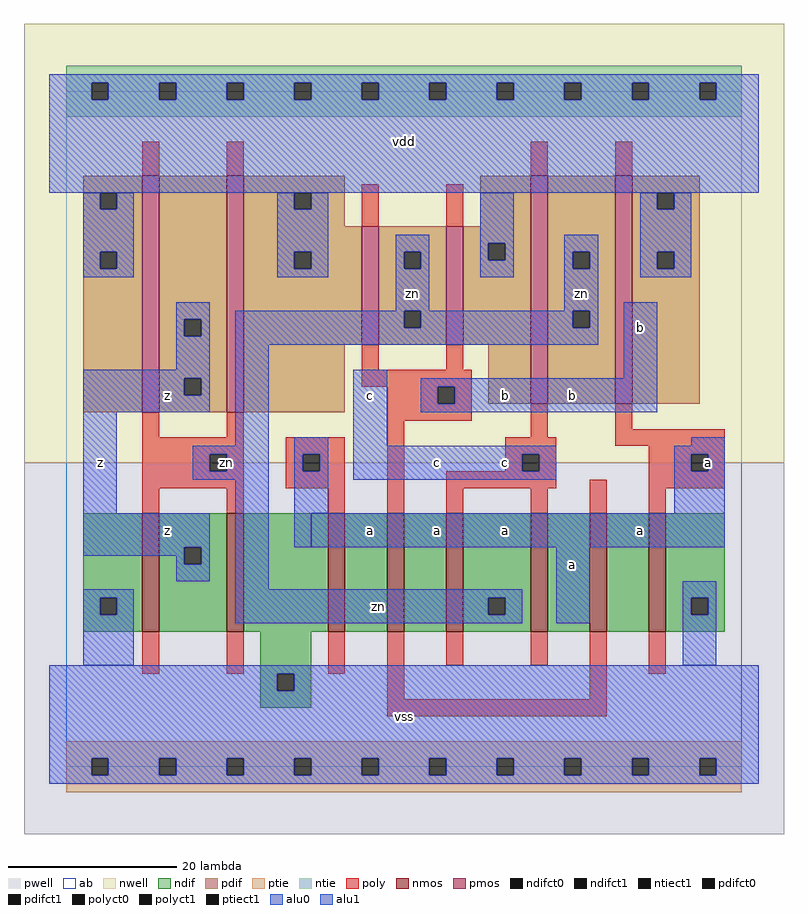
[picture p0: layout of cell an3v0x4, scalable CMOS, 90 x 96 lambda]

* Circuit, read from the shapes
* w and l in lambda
.subckt an3v0x4 a b c vdd vss z zn
M1 z zn vss vss nfet w=14 l=2 m=2
M2 n1 a vss vss nfet w=14 l=2
M3 n2 b n1 vss nfet w=14 l=2
M4 zn c n2 vss nfet w=14 l=2
M5 n3 c zn vss nfet w=14 l=2
M6 n4 b n3 vss nfet w=14 l=2
M7 vss a n4 vss nfet w=14 l=2
M8 z zn vdd vdd pfet w=28 l=2 m=2
M9 zn b vdd vdd pfet w=14 l=2 m=2
M10 zn c vdd vdd pfet w=27 l=2
M11 vdd a zn vdd pfet w=27 l=2
.ends

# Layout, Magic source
magic
tech scmos
<< ab >>
rect 0 0 80 80
<< nwell >>
rect -5 36 85 88
<< pwell >>
rect -5 -8 85 36
<< poly >>
rect 9 70 11 74
rect 19 70 21 74
rect 55 70 57 74
rect 65 70 67 74
rect 35 64 37 69
rect 45 64 47 69
rect 35 47 37 50
rect 45 47 47 50
rect 35 45 48 47
rect 38 43 44 45
rect 46 43 48 45
rect 9 39 11 42
rect 19 39 21 42
rect 38 41 48 43
rect 9 37 21 39
rect 9 35 17 37
rect 19 35 21 37
rect 9 33 21 35
rect 26 37 33 39
rect 26 35 28 37
rect 30 35 33 37
rect 26 33 33 35
rect 9 30 11 33
rect 19 30 21 33
rect 31 30 33 33
rect 38 30 40 41
rect 55 39 57 43
rect 65 40 67 43
rect 52 37 58 39
rect 65 38 78 40
rect 52 35 54 37
rect 56 35 58 37
rect 45 33 58 35
rect 69 37 78 38
rect 69 35 74 37
rect 76 35 78 37
rect 45 30 47 33
rect 55 30 57 33
rect 62 30 64 34
rect 69 33 78 35
rect 69 30 71 33
rect 9 11 11 16
rect 19 11 21 16
rect 31 11 33 16
rect 38 8 40 16
rect 45 12 47 16
rect 55 12 57 16
rect 62 8 64 16
rect 69 11 71 16
rect 38 6 64 8
<< ndif >>
rect 2 20 9 30
rect 2 18 4 20
rect 6 18 9 20
rect 2 16 9 18
rect 11 26 19 30
rect 11 24 14 26
rect 16 24 19 26
rect 11 16 19 24
rect 21 16 31 30
rect 33 16 38 30
rect 40 16 45 30
rect 47 20 55 30
rect 47 18 50 20
rect 52 18 55 20
rect 47 16 55 18
rect 57 16 62 30
rect 64 16 69 30
rect 71 20 78 30
rect 71 18 74 20
rect 76 18 78 20
rect 71 16 78 18
rect 23 11 29 16
rect 23 9 25 11
rect 27 9 29 11
rect 23 7 29 9
<< pdif >>
rect 2 68 9 70
rect 2 66 4 68
rect 6 66 9 68
rect 2 61 9 66
rect 2 59 4 61
rect 6 59 9 61
rect 2 42 9 59
rect 11 53 19 70
rect 11 51 14 53
rect 16 51 19 53
rect 11 46 19 51
rect 11 44 14 46
rect 16 44 19 46
rect 11 42 19 44
rect 21 68 33 70
rect 21 66 27 68
rect 29 66 33 68
rect 21 64 33 66
rect 49 64 55 70
rect 21 61 35 64
rect 21 59 27 61
rect 29 59 35 61
rect 21 50 35 59
rect 37 61 45 64
rect 37 59 40 61
rect 42 59 45 61
rect 37 54 45 59
rect 37 52 40 54
rect 42 52 45 54
rect 37 50 45 52
rect 47 62 55 64
rect 47 60 50 62
rect 52 60 55 62
rect 47 50 55 60
rect 21 42 33 50
rect 50 43 55 50
rect 57 61 65 70
rect 57 59 60 61
rect 62 59 65 61
rect 57 54 65 59
rect 57 52 60 54
rect 62 52 65 54
rect 57 43 65 52
rect 67 68 75 70
rect 67 66 70 68
rect 72 66 75 68
rect 67 61 75 66
rect 67 59 70 61
rect 72 59 75 61
rect 67 43 75 59
<< alu1 >>
rect -2 81 82 82
rect -2 79 3 81
rect 5 79 11 81
rect 13 79 19 81
rect 21 79 27 81
rect 29 79 35 81
rect 37 79 43 81
rect 45 79 51 81
rect 53 79 59 81
rect 61 79 67 81
rect 69 79 75 81
rect 77 79 82 81
rect -2 68 82 79
rect 13 53 17 55
rect 13 51 14 53
rect 16 51 17 53
rect 13 47 17 51
rect 2 46 17 47
rect 2 44 14 46
rect 16 44 17 46
rect 2 42 17 44
rect 2 30 6 42
rect 2 26 17 30
rect 2 25 14 26
rect 13 24 14 25
rect 16 24 17 26
rect 13 22 17 24
rect 34 38 38 47
rect 66 46 70 55
rect 42 45 70 46
rect 42 43 44 45
rect 46 43 70 45
rect 42 42 70 43
rect 74 38 78 39
rect 34 37 58 38
rect 34 35 54 37
rect 56 35 58 37
rect 34 34 58 35
rect 72 37 78 38
rect 72 35 74 37
rect 76 35 78 37
rect 72 30 78 35
rect 29 26 78 30
rect 58 17 62 26
rect -2 11 82 12
rect -2 9 25 11
rect 27 9 82 11
rect -2 1 82 9
rect -2 -1 3 1
rect 5 -1 11 1
rect 13 -1 19 1
rect 21 -1 27 1
rect 29 -1 35 1
rect 37 -1 43 1
rect 45 -1 51 1
rect 53 -1 59 1
rect 61 -1 67 1
rect 69 -1 75 1
rect 77 -1 82 1
rect -2 -2 82 -1
<< ptie >>
rect 0 1 80 3
rect 0 -1 3 1
rect 5 -1 11 1
rect 13 -1 19 1
rect 21 -1 27 1
rect 29 -1 35 1
rect 37 -1 43 1
rect 45 -1 51 1
rect 53 -1 59 1
rect 61 -1 67 1
rect 69 -1 75 1
rect 77 -1 80 1
rect 0 -3 80 -1
<< ntie >>
rect 0 81 80 83
rect 0 79 3 81
rect 5 79 11 81
rect 13 79 19 81
rect 21 79 27 81
rect 29 79 35 81
rect 37 79 43 81
rect 45 79 51 81
rect 53 79 59 81
rect 61 79 67 81
rect 69 79 75 81
rect 77 79 80 81
rect 0 77 80 79
<< nmos >>
rect 9 16 11 30
rect 19 16 21 30
rect 31 16 33 30
rect 38 16 40 30
rect 45 16 47 30
rect 55 16 57 30
rect 62 16 64 30
rect 69 16 71 30
<< pmos >>
rect 9 42 11 70
rect 19 42 21 70
rect 35 50 37 64
rect 45 50 47 64
rect 55 43 57 70
rect 65 43 67 70
<< polyct0 >>
rect 17 35 19 37
rect 28 35 30 37
<< polyct1 >>
rect 44 43 46 45
rect 54 35 56 37
rect 74 35 76 37
<< ndifct0 >>
rect 4 18 6 20
rect 50 18 52 20
rect 74 18 76 20
<< ndifct1 >>
rect 14 24 16 26
rect 25 9 27 11
<< ntiect1 >>
rect 3 79 5 81
rect 11 79 13 81
rect 19 79 21 81
rect 27 79 29 81
rect 35 79 37 81
rect 43 79 45 81
rect 51 79 53 81
rect 59 79 61 81
rect 67 79 69 81
rect 75 79 77 81
<< ptiect1 >>
rect 3 -1 5 1
rect 11 -1 13 1
rect 19 -1 21 1
rect 27 -1 29 1
rect 35 -1 37 1
rect 43 -1 45 1
rect 51 -1 53 1
rect 59 -1 61 1
rect 67 -1 69 1
rect 75 -1 77 1
<< pdifct0 >>
rect 4 66 6 68
rect 4 59 6 61
rect 27 66 29 68
rect 27 59 29 61
rect 40 59 42 61
rect 40 52 42 54
rect 50 60 52 62
rect 60 59 62 61
rect 60 52 62 54
rect 70 66 72 68
rect 70 59 72 61
<< pdifct1 >>
rect 14 51 16 53
rect 14 44 16 46
<< alu0 >>
rect 2 66 4 68
rect 6 66 8 68
rect 2 61 8 66
rect 2 59 4 61
rect 6 59 8 61
rect 2 58 8 59
rect 25 66 27 68
rect 29 66 31 68
rect 25 61 31 66
rect 25 59 27 61
rect 29 59 31 61
rect 25 58 31 59
rect 39 61 43 63
rect 39 59 40 61
rect 42 59 43 61
rect 39 54 43 59
rect 49 62 53 68
rect 68 66 70 68
rect 72 66 74 68
rect 49 60 50 62
rect 52 60 53 62
rect 49 58 53 60
rect 59 61 63 63
rect 59 59 60 61
rect 62 59 63 61
rect 59 54 63 59
rect 68 61 74 66
rect 68 59 70 61
rect 72 59 74 61
rect 68 58 74 59
rect 20 52 40 54
rect 42 52 60 54
rect 62 52 63 54
rect 20 50 63 52
rect 20 38 24 50
rect 15 37 24 38
rect 15 35 17 37
rect 19 35 24 37
rect 15 34 24 35
rect 20 21 24 34
rect 27 37 31 39
rect 27 35 28 37
rect 30 35 31 37
rect 27 30 31 35
rect 27 26 29 30
rect 2 20 8 21
rect 2 18 4 20
rect 6 18 8 20
rect 2 12 8 18
rect 20 20 54 21
rect 20 18 50 20
rect 52 18 54 20
rect 20 17 54 18
rect 73 20 77 22
rect 73 18 74 20
rect 76 18 77 20
rect 73 12 77 18
<< labels >>
rlabel alu0 19 36 19 36 6 zn
rlabel alu0 37 19 37 19 6 zn
rlabel alu0 41 56 41 56 6 zn
rlabel alu0 61 56 61 56 6 zn
rlabel alu1 12 28 12 28 6 z
rlabel alu1 4 36 4 36 6 z
rlabel alu1 12 44 12 44 6 z
rlabel alu1 36 28 36 28 6 a
rlabel alu1 36 44 36 44 6 c
rlabel alu1 40 6 40 6 6 vss
rlabel alu1 44 28 44 28 6 a
rlabel alu1 44 36 44 36 6 c
rlabel alu1 52 36 52 36 6 c
rlabel alu1 52 28 52 28 6 a
rlabel alu1 52 44 52 44 6 b
rlabel alu1 40 74 40 74 6 vdd
rlabel alu1 60 24 60 24 6 a
rlabel alu1 76 36 76 36 6 a
rlabel alu1 68 28 68 28 6 a
rlabel alu1 60 44 60 44 6 b
rlabel alu1 68 52 68 52 6 b
<< end >>
